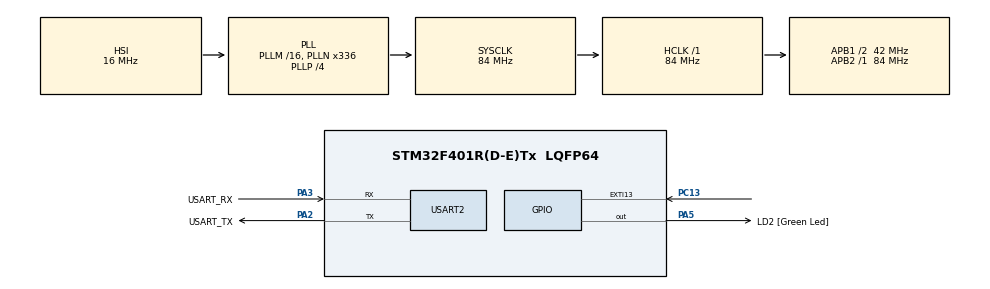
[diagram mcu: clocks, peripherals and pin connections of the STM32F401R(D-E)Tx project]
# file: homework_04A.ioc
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Dma.Request0=USART2_TX
Dma.USART2_TX.0.Direction=DMA_MEMORY_TO_PERIPH
Dma.USART2_TX.0.FIFOMode=DMA_FIFOMODE_DISABLE
Dma.USART2_TX.0.Instance=DMA1_Stream6
Dma.USART2_TX.0.MemDataAlignment=DMA_MDATAALIGN_BYTE
Dma.USART2_TX.0.MemInc=DMA_MINC_ENABLE
Dma.USART2_TX.0.Mode=DMA_NORMAL
Dma.USART2_TX.0.PeriphDataAlignment=DMA_PDATAALIGN_BYTE
Dma.USART2_TX.0.PeriphInc=DMA_PINC_DISABLE
Dma.USART2_TX.0.Priority=DMA_PRIORITY_LOW
Mcu.Family=STM32F4
Mcu.Name=STM32F401R(D-E)Tx
Mcu.Package=LQFP64
NVIC.DMA1_Stream6_IRQn=true\:0\:0\:false\:false\:true\:false\:true\:true
NVIC.PriorityGroup=NVIC_PRIORITYGROUP_4
NVIC.TIM1_UP_TIM10_IRQn=true\:0\:0\:false\:false\:true\:true\:true\:true
NVIC.USART2_IRQn=true\:0\:0\:false\:false\:true\:true\:true\:true
PA13.GPIO_Label=TMS
PA13.Mode=Trace_Asynchronous_SW
PA13.Signal=SYS_JTMS-SWDIO
PA14.GPIO_Label=TCK
PA14.Mode=Trace_Asynchronous_SW
PA14.Signal=SYS_JTCK-SWCLK
PA2.GPIO_Label=USART_TX
PA2.GPIO_Mode=GPIO_MODE_AF_PP
PA2.GPIO_PuPd=GPIO_NOPULL
PA2.GPIO_Speed=GPIO_SPEED_FREQ_LOW
PA2.Mode=Asynchronous
PA2.Signal=USART2_TX
PA3.GPIO_Label=USART_RX
PA3.GPIO_Mode=GPIO_MODE_AF_PP
PA3.GPIO_PuPd=GPIO_NOPULL
PA3.GPIO_Speed=GPIO_SPEED_FREQ_LOW
PA3.Mode=Asynchronous
PA3.Signal=USART2_RX
PA5.GPIO_Label=LD2 [Green Led]
PA5.GPIO_Mode=GPIO_MODE_OUTPUT_PP
PA5.GPIO_PuPd=GPIO_NOPULL
PA5.GPIO_Speed=GPIO_SPEED_FREQ_LOW
PA5.Signal=GPIO_Output
PB3.GPIO_Label=SWO
PB3.Mode=Trace_Asynchronous_SW
PB3.Signal=SYS_JTDO-SWO
PC13-ANTI_TAMP.Signal=GPXTI13
PC14-OSC32_IN.Mode=LSE-External-Oscillator
PC14-OSC32_IN.Signal=RCC_OSC32_IN
PC15-OSC32_OUT.Mode=LSE-External-Oscillator
PC15-OSC32_OUT.Signal=RCC_OSC32_OUT
PH0\ -\ OSC_IN.Mode=HSE-External-Clock-Source
PH0\ -\ OSC_IN.Signal=RCC_OSC_IN
PH1\ -\ OSC_OUT.Mode=HSE-External-Clock-Source
PH1\ -\ OSC_OUT.Signal=RCC_OSC_OUT
ProjectManager.HeapSize=0x200
ProjectManager.StackSize=0x400
ProjectManager.TargetToolchain=CMake
RCC.48MHZClocksFreq_Value=48000000
RCC.AHBFreq_Value=84000000
RCC.APB1CLKDivider=RCC_HCLK_DIV2
RCC.APB1Freq_Value=42000000
RCC.APB1TimFreq_Value=84000000
RCC.APB2Freq_Value=84000000
RCC.APB2TimFreq_Value=84000000
RCC.CortexFreq_Value=84000000
RCC.HCLKFreq_Value=84000000
RCC.HSE_VALUE=8000000
RCC.HSI_VALUE=16000000
RCC.PLLN=336
RCC.PLLP=RCC_PLLP_DIV4
RCC.PLLQ=7
RCC.SYSCLKFreq_VALUE=84000000
RCC.SYSCLKSource=RCC_SYSCLKSOURCE_PLLCLK
RCC.VCOOutputFreq_Value=336000000
TIM1.Period=1000-1
TIM1.Prescaler=84-1
USART2.VirtualMode=VM_ASYNC
VP_TIM1_VS_ClockSourceINT.Mode=Internal
board=NUCLEO-F401RE

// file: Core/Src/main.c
/* USER CODE BEGIN Header */
/**
  ******************************************************************************
  * @file           : main.c
  * @brief          : Main program body
  ******************************************************************************
  * @attention
  *
  * Copyright (c) 2026 STMicroelectronics.
  * All rights reserved.
  *
  * This software is licensed under terms that can be found in the LICENSE file
  * in the root directory of this software component.
  * If no LICENSE file comes with this software, it is provided AS-IS.
  *
  ******************************************************************************
  */
/* USER CODE END Header */
#include "main.h"

/* USER CODE BEGIN Includes */
#include <stdio.h>
#include <string.h>
#include <stdbool.h>
/* USER CODE END Includes */

TIM_HandleTypeDef htim1;

UART_HandleTypeDef huart2;
DMA_HandleTypeDef hdma_usart2_tx;

/* USER CODE BEGIN PV */
char msg[64];
int length;
bool is_transmitting = false;
int count = 0;
/* USER CODE END PV */

void SystemClock_Config(void);
static void MX_GPIO_Init(void);
static void MX_DMA_Init(void);
static void MX_USART2_UART_Init(void);
static void MX_TIM1_Init(void);

int main(void)
{

  /* MCU Configuration--------------------------------------------------------*/

  /* Reset of all peripherals, Initializes the Flash interface and the Systick. */
  HAL_Init();

  /* Configure the system clock */
  SystemClock_Config();

  /* Initialize all configured peripherals */
  MX_GPIO_Init();
  MX_DMA_Init();
  MX_USART2_UART_Init();
  MX_TIM1_Init();
  /* USER CODE BEGIN 2 */
  HAL_TIM_Base_Start_IT(&htim1);
  /* USER CODE END 2 */

  /* Infinite loop */
  while (1)
  {

  }
}

void SystemClock_Config(void)
{
  RCC_OscInitTypeDef RCC_OscInitStruct = {0};
  RCC_ClkInitTypeDef RCC_ClkInitStruct = {0};

  /** Configure the main internal regulator output voltage
  */
  __HAL_RCC_PWR_CLK_ENABLE();
  __HAL_PWR_VOLTAGESCALING_CONFIG(PWR_REGULATOR_VOLTAGE_SCALE2);

  /** Initializes the RCC Oscillators according to the specified parameters
  * in the RCC_OscInitTypeDef structure.
  */
  RCC_OscInitStruct.OscillatorType = RCC_OSCILLATORTYPE_HSI;
  RCC_OscInitStruct.HSIState = RCC_HSI_ON;
  RCC_OscInitStruct.HSICalibrationValue = RCC_HSICALIBRATION_DEFAULT;
  RCC_OscInitStruct.PLL.PLLState = RCC_PLL_ON;
  RCC_OscInitStruct.PLL.PLLSource = RCC_PLLSOURCE_HSI;
  RCC_OscInitStruct.PLL.PLLM = 16;
  RCC_OscInitStruct.PLL.PLLN = 336;
  RCC_OscInitStruct.PLL.PLLP = RCC_PLLP_DIV4;
  RCC_OscInitStruct.PLL.PLLQ = 7;
  if (HAL_RCC_OscConfig(&RCC_OscInitStruct) != HAL_OK)
  {
    Error_Handler();
  }

  /** Initializes the CPU, AHB and APB buses clocks
  */
  RCC_ClkInitStruct.ClockType = RCC_CLOCKTYPE_HCLK|RCC_CLOCKTYPE_SYSCLK
                              |RCC_CLOCKTYPE_PCLK1|RCC_CLOCKTYPE_PCLK2;
  RCC_ClkInitStruct.SYSCLKSource = RCC_SYSCLKSOURCE_PLLCLK;
  RCC_ClkInitStruct.AHBCLKDivider = RCC_SYSCLK_DIV1;
  RCC_ClkInitStruct.APB1CLKDivider = RCC_HCLK_DIV2;
  RCC_ClkInitStruct.APB2CLKDivider = RCC_HCLK_DIV1;

  if (HAL_RCC_ClockConfig(&RCC_ClkInitStruct, FLASH_LATENCY_2) != HAL_OK)
  {
    Error_Handler();
  }
}

static void MX_TIM1_Init(void)
{

  TIM_ClockConfigTypeDef sClockSourceConfig = {0};
  TIM_MasterConfigTypeDef sMasterConfig = {0};

  htim1.Instance = TIM1;
  htim1.Init.Prescaler = 84-1;
  htim1.Init.CounterMode = TIM_COUNTERMODE_UP;
  htim1.Init.Period = 1000-1;
  htim1.Init.ClockDivision = TIM_CLOCKDIVISION_DIV1;
  htim1.Init.RepetitionCounter = 0;
  htim1.Init.AutoReloadPreload = TIM_AUTORELOAD_PRELOAD_DISABLE;
  if (HAL_TIM_Base_Init(&htim1) != HAL_OK)
  {
    Error_Handler();
  }
  sClockSourceConfig.ClockSource = TIM_CLOCKSOURCE_INTERNAL;
  if (HAL_TIM_ConfigClockSource(&htim1, &sClockSourceConfig) != HAL_OK)
  {
    Error_Handler();
  }
  sMasterConfig.MasterOutputTrigger = TIM_TRGO_RESET;
  sMasterConfig.MasterSlaveMode = TIM_MASTERSLAVEMODE_DISABLE;
  if (HAL_TIMEx_MasterConfigSynchronization(&htim1, &sMasterConfig) != HAL_OK)
  {
    Error_Handler();
  }

}

static void MX_USART2_UART_Init(void)
{

  huart2.Instance = USART2;
  huart2.Init.BaudRate = 115200;
  huart2.Init.WordLength = UART_WORDLENGTH_8B;
  huart2.Init.StopBits = UART_STOPBITS_1;
  huart2.Init.Parity = UART_PARITY_NONE;
  huart2.Init.Mode = UART_MODE_TX_RX;
  huart2.Init.HwFlowCtl = UART_HWCONTROL_NONE;
  huart2.Init.OverSampling = UART_OVERSAMPLING_16;
  if (HAL_UART_Init(&huart2) != HAL_OK)
  {
    Error_Handler();
  }

}

static void MX_DMA_Init(void)
{

  /* DMA controller clock enable */
  __HAL_RCC_DMA1_CLK_ENABLE();

  /* DMA interrupt init */
  /* DMA1_Stream6_IRQn interrupt configuration */
  HAL_NVIC_SetPriority(DMA1_Stream6_IRQn, 0, 0);
  HAL_NVIC_EnableIRQ(DMA1_Stream6_IRQn);

}

static void MX_GPIO_Init(void)
{
  GPIO_InitTypeDef GPIO_InitStruct = {0};

  /* GPIO Ports Clock Enable */
  __HAL_RCC_GPIOC_CLK_ENABLE();
  __HAL_RCC_GPIOH_CLK_ENABLE();
  __HAL_RCC_GPIOA_CLK_ENABLE();
  __HAL_RCC_GPIOB_CLK_ENABLE();

  /*Configure GPIO pin Output Level */
  HAL_GPIO_WritePin(LD2_GPIO_Port, LD2_Pin, GPIO_PIN_RESET);

  /*Configure GPIO pin : PC13 */
  GPIO_InitStruct.Pin = GPIO_PIN_13;
  GPIO_InitStruct.Mode = GPIO_MODE_IT_RISING;
  GPIO_InitStruct.Pull = GPIO_NOPULL;
  HAL_GPIO_Init(GPIOC, &GPIO_InitStruct);

  /*Configure GPIO pin : LD2_Pin */
  GPIO_InitStruct.Pin = LD2_Pin;
  GPIO_InitStruct.Mode = GPIO_MODE_OUTPUT_PP;
  GPIO_InitStruct.Pull = GPIO_NOPULL;
  GPIO_InitStruct.Speed = GPIO_SPEED_FREQ_LOW;
  HAL_GPIO_Init(LD2_GPIO_Port, &GPIO_InitStruct);

}

/* USER CODE BEGIN 4 */
void HAL_TIM_PeriodElapsedCallback(TIM_HandleTypeDef *htim)
{
  if (htim == &htim1 && is_transmitting == false)
  {
    if(count == 1000)
    {
      length = snprintf(msg, sizeof(msg), "Group A10 %d\r\n", 2026);
      HAL_UART_Transmit_DMA(&huart2, (uint8_t*)msg, length);
      is_transmitting = true;
      count = 0;
    }
    count++;
  }
}

void HAL_UART_TxCpltCallback(UART_HandleTypeDef *huart)
{
  if (huart == &huart2)
  {
    is_transmitting = false;
  }
}
/* USER CODE END 4 */

void Error_Handler(void)
{
  __disable_irq();
  while (1)
  {
  }
}
